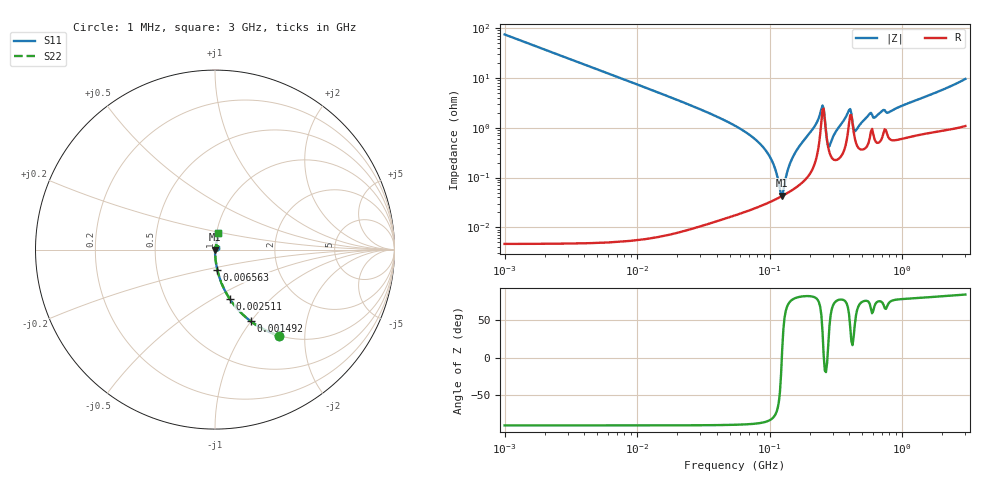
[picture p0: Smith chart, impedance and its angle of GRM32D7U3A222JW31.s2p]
!Murata Part Number: GRM32D7U3A222JW31
!These Parameters are Measured in Series Mode Connection
!Data Generated on Mar 30, 2021
!  o--ll--o
!Port1  Port2
!  o------o
!Operation Temp=25[degC], DC Bias Voltage=0[V]
!Freq. Start=1000[kHz] Stop=3[GHz] 401[Steps]
# Hz S RI R 50
!Freq.(Hz) S11(Real) S11(Imag) S21(Real) S21(Imag) S12(Real) S12(Imag) S22(Real) S22(Imag)
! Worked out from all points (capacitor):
!   401 points, 1 MHz to 3 GHz, reference 50 ohm
!   read as one part in series: C = 2.14 nF near 1.041 MHz
!   lowest |Z| = 43.5 mohm at 124.4 MHz (marker M1)
!   series resonance near 123.6 MHz, so ESL is about 780 pH
!   S11 on the Smith chart (normalised r, x): 1 MHz: 1.00, -1.49; 1.492 MHz: 1.00, -1.00; 2.511 MHz: 1.00, -0.59; 6.563 MHz: 1.00, -0.23; 3 GHz: 1.02, +0.19
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1000000  0.3568 -0.479  0.6432 0.479  0.6432 0.479  0.3568 -0.479
1492300  0.1994 -0.3995  0.8006 0.3995  0.8006 0.3995  0.1994 -0.3995
2511129  0.0808 -0.2725  0.9192 0.2725  0.9192 0.2725  0.0808 -0.2725
3823119  0.0365 -0.1875  0.9635 0.1875  0.9635 0.1875  0.0365 -0.1875
6563319  0.0127 -0.1117  0.9873 0.1117  0.9873 0.1117  0.0127 -0.1117
1.461624e7  0.00258 -0.0501  0.9974 0.0501  0.9974 0.0501  0.00258 -0.0501
5.477226e7  0.000294 -0.011  0.9997 0.011  0.9997 0.011  0.000294 -0.011
9.402997e7  0.000309 -0.00341  0.9997 0.00341  0.9997 0.00341  0.000309 -0.00341
1.060286e8  0.000348 -0.00191  0.9997 0.00191  0.9997 0.00191  0.000348 -0.00191
1.195584e8  0.000403 -0.000418  0.9996 0.000418  0.9996 0.000418  0.000403 -0.000418
1.244416e8  0.000427 8.56e-05  0.9996 -8.56e-05  0.9996 -8.56e-05  0.000427 8.56e-05
1.49005e8  0.000572 0.00245  0.9994 -0.00245  0.9994 -0.00245  0.000572 0.00245
2.094008e8  0.00151 0.00888  0.9985 -0.00888  0.9985 -0.00888  0.00151 0.00888
2.507343e8  0.023 0.0147  0.977 -0.0147  0.977 -0.0147  0.023 0.0147
2.558035e8  0.0236 0.00082  0.9764 -0.00082  0.9764 -0.00082  0.0236 0.00082
2.716345e8  0.0053 -0.000563  0.9947 0.000563  0.9947 0.000563  0.0053 -0.000563
2.827291e8  0.00318 0.00283  0.9968 -0.00283  0.9968 -0.00283  0.00318 0.00283
3.973271e8  0.0124 0.0186  0.9876 -0.0186  0.9876 -0.0186  0.0124 0.0186
4.480278e8  0.005 0.00721  0.995 -0.00721  0.995 -0.00721  0.005 0.00721
5.583748e8  0.00528 0.0171  0.9947 -0.0171  0.9947 -0.0171  0.00528 0.0171
8.005644e8  0.00636 0.0196  0.9936 -0.0196  0.9936 -0.0196  0.00636 0.0196
3e9  0.0194 0.0922  0.9806 -0.0922  0.9806 -0.0922  0.0194 0.0922
